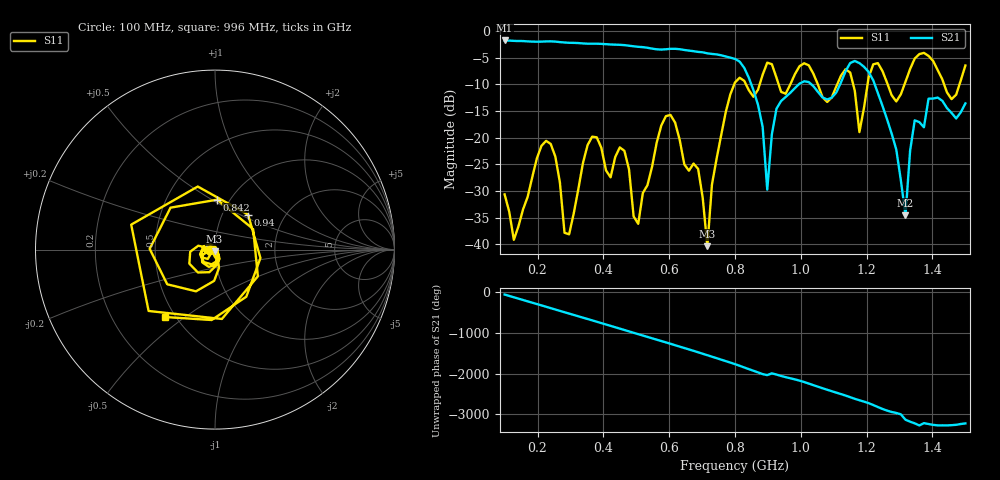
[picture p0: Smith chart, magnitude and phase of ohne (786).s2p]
! NanoVNA-App
! Date: 2025-09-25 14:26:55
! Start: 100MHz Stop: 1,5GHz Points: 101
! S-Parameter data: F S11 S21 S12 S22
# Hz S RI R 50
!  Frequency  S11_Real  S11_Imag  S21_Real  S21_Imag  S12_Real  S12_Imag  S22_Real  S22_Imag
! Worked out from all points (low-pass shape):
!   101 points, 100 MHz to 1.5 GHz, reference 50 ohm
!   highest |S21| = -1.79 dB at 100 MHz (marker M1); lowest = -34.6 dB at 1.318 GHz (marker M2)
!   |S21| within 3 dB of the highest: start of sweep to 772 MHz
!   lowest |S11| = -40.3 dB at 716 MHz (marker M3), VSWR 1.02, Z = 49.8 - j0.936 ohm
!   |S11| at or under -10 dB: start of sweep to 797.8 MHz; 833.2 MHz to 875.1 MHz (41.9 MHz wide, 4.91 % of centre); 1.052 GHz to 1.111 GHz (59.06 MHz wide, 5.46 % of centre) (the widest 3 of 7)
!   S12 and S22 are empty: the file has one direction only
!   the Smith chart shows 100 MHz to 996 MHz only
!   S11 on the Smith chart (normalised r, x): 100 MHz: 0.94, -0.01; 842 MHz: 0.88, +0.53; 940 MHz: 1.32, +0.56; 996 MHz: 0.44, -0.42
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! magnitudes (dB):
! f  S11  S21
! 100 MHz  -30.6  -1.8
! 128 MHz  -39.1  -1.9
! 226 MHz  -20.6  -2.0
! 296 MHz  -38.1  -2.2
! 338 MHz  -24.8  -2.4
! 464 MHz  -22.5  -2.7
! 506 MHz  -36.2  -3.0
! 576 MHz  -17.7  -3.5
! 688 MHz  -25.9  -3.9
! 716 MHz  -40.3  -4.2
! 800 MHz  -9.7  -5.3
! 842 MHz  -11.1  -8.8
! 898 MHz  -6.0  -29.7
! 940 MHz  -11.4  -13.1
! 996 MHz  -6.6  -9.9
! 1.038 GHz  -8.0  -10.3
! 1.178 GHz  -19.0  -6.0
! 1.22 GHz  -6.3  -9.3
! 1.276 GHz  -12.1  -19.3
! 1.318 GHz  -9.5  -34.6
! 1.346 GHz  -5.2  -16.8
! 1.5 GHz  -6.5  -13.6
